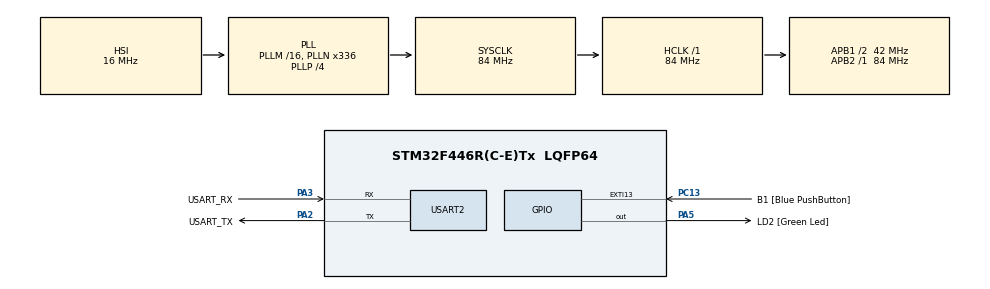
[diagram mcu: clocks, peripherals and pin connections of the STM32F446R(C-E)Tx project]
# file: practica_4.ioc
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Mcu.Family=STM32F4
Mcu.Name=STM32F446R(C-E)Tx
Mcu.Package=LQFP64
NVIC.PriorityGroup=NVIC_PRIORITYGROUP_0
PA13.GPIO_Label=TMS
PA13.Mode=Serial_Wire
PA13.Signal=SYS_JTMS-SWDIO
PA14.GPIO_Label=TCK
PA14.Mode=Serial_Wire
PA14.Signal=SYS_JTCK-SWCLK
PA2.GPIO_Label=USART_TX
PA2.Mode=Asynchronous
PA2.Signal=USART2_TX
PA3.GPIO_Label=USART_RX
PA3.Mode=Asynchronous
PA3.Signal=USART2_RX
PA5.GPIO_Label=LD2 [Green Led]
PA5.Signal=GPIO_Output
PB3.GPIO_Label=SWO
PB3.Signal=SYS_JTDO-SWO
PC13.GPIO_Label=B1 [Blue PushButton]
PC13.GPIO_ModeDefaultEXTI=GPIO_MODE_IT_FALLING
PC13.Signal=GPXTI13
PC14-OSC32_IN.Mode=LSE-External-Oscillator
PC14-OSC32_IN.Signal=RCC_OSC32_IN
PC15-OSC32_OUT.Mode=LSE-External-Oscillator
PC15-OSC32_OUT.Signal=RCC_OSC32_OUT
PH0-OSC_IN.Mode=HSE-External-Oscillator
PH0-OSC_IN.Signal=RCC_OSC_IN
PH1-OSC_OUT.Mode=HSE-External-Oscillator
PH1-OSC_OUT.Signal=RCC_OSC_OUT
ProjectManager.HeapSize=0x200
ProjectManager.StackSize=0x400
ProjectManager.TargetToolchain=STM32CubeIDE
RCC.48MHZClocksFreq_Value=84000000
RCC.AHBFreq_Value=84000000
RCC.APB1CLKDivider=RCC_HCLK_DIV2
RCC.APB1Freq_Value=42000000
RCC.APB1TimFreq_Value=84000000
RCC.APB2Freq_Value=84000000
RCC.APB2TimFreq_Value=84000000
RCC.CortexFreq_Value=84000000
RCC.FLatency-AdvancedSettings=FLASH_LATENCY_2
RCC.HCLKFreq_Value=84000000
RCC.HSE_VALUE=8000000
RCC.HSI_VALUE=16000000
RCC.PLLN=336
RCC.PLLP=RCC_PLLP_DIV4
RCC.SYSCLKFreq_VALUE=84000000
RCC.SYSCLKSource=RCC_SYSCLKSOURCE_PLLCLK
RCC.USBFreq_Value=168000000
RCC.VCOOutputFreq_Value=336000000
USART2.VirtualMode=VM_ASYNC
board=NUCLEO-F446RE

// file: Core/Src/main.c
/* USER CODE BEGIN Header */
/**
 ******************************************************************************
 * @file           : main.c
 * @brief          : Main program body
 ******************************************************************************
 * @attention
 *
 * Copyright (c) 2026 STMicroelectronics.
 * All rights reserved.
 *
 * This software is licensed under terms that can be found in the LICENSE file
 * in the root directory of this software component.
 * If no LICENSE file comes with this software, it is provided AS-IS.
 *
 ******************************************************************************
 */
/* USER CODE END Header */
#include "main.h"

/* USER CODE BEGIN Includes */
#include "API_delay.h"
/* USER CODE END Includes */

/* USER CODE BEGIN PTD */
/**
 * State struct for the fsm
 */
typedef enum {
	BUTTON_UP, BUTTON_FALLING, BUTTON_DOWN, BUTTON_RAISING,
} debounceState_t;

/* USER CODE END PTD */

/* USER CODE BEGIN PD */
#define INIT_DELAY_TIME 0 //! Delay to init the delay
#define TRANSITORY_STATE_TIME 40 //! Transitory wait time
/* USER CODE END PD */

UART_HandleTypeDef huart2;

/* USER CODE BEGIN PV */
static debounceState_t cur_state;
static delay_t dly;
/* USER CODE END PV */

void SystemClock_Config(void);
static void MX_GPIO_Init(void);
static void MX_USART2_UART_Init(void);
/* USER CODE BEGIN PFP */
/**
 * @brief Initialize the debounce FSM.
 *
 * @retval None.
 */
void debounceFSM_init();

/**
 * @brief runs one step of the debounceFSM.
 *
 * @retval None.
 */
void debounceFSM_update();

/**
 * @brief Function to turn the led on when pressed.
 *
 * @retval None.
 */
void buttonPressed();
/**
 * @brief Function to turn the led off when released.
 *
 * @retval None.
 */
void buttonReleased();
/* USER CODE END PFP */

int main(void) {

	/* MCU Configuration--------------------------------------------------------*/

	/* Reset of all peripherals, Initializes the Flash interface and the Systick.
	 */
	HAL_Init();

	/* Configure the system clock */
	SystemClock_Config();

	/* Initialize all configured peripherals */
	MX_GPIO_Init();
	MX_USART2_UART_Init();
	/* USER CODE BEGIN 2 */

	// init both the debounce and the delay
	debounceFSM_init();
	/* USER CODE END 2 */

	/* Infinite loop */
	/* USER CODE BEGIN WHILE */
	while (1) {
		// Update the fsm
		debounceFSM_update();
		/* USER CODE END WHILE */

	}
}

void SystemClock_Config(void) {
	RCC_OscInitTypeDef RCC_OscInitStruct = { 0 };
	RCC_ClkInitTypeDef RCC_ClkInitStruct = { 0 };

	/** Configure the main internal regulator output voltage
	 */
	__HAL_RCC_PWR_CLK_ENABLE();
	__HAL_PWR_VOLTAGESCALING_CONFIG(PWR_REGULATOR_VOLTAGE_SCALE3);

	/** Initializes the RCC Oscillators according to the specified parameters
	 * in the RCC_OscInitTypeDef structure.
	 */
	RCC_OscInitStruct.OscillatorType = RCC_OSCILLATORTYPE_HSI;
	RCC_OscInitStruct.HSIState = RCC_HSI_ON;
	RCC_OscInitStruct.HSICalibrationValue = RCC_HSICALIBRATION_DEFAULT;
	RCC_OscInitStruct.PLL.PLLState = RCC_PLL_ON;
	RCC_OscInitStruct.PLL.PLLSource = RCC_PLLSOURCE_HSI;
	RCC_OscInitStruct.PLL.PLLM = 16;
	RCC_OscInitStruct.PLL.PLLN = 336;
	RCC_OscInitStruct.PLL.PLLP = RCC_PLLP_DIV4;
	RCC_OscInitStruct.PLL.PLLQ = 2;
	RCC_OscInitStruct.PLL.PLLR = 2;
	if (HAL_RCC_OscConfig(&RCC_OscInitStruct) != HAL_OK) {
		Error_Handler();
	}

	/** Initializes the CPU, AHB and APB buses clocks
	 */
	RCC_ClkInitStruct.ClockType = RCC_CLOCKTYPE_HCLK | RCC_CLOCKTYPE_SYSCLK |
	RCC_CLOCKTYPE_PCLK1 | RCC_CLOCKTYPE_PCLK2;
	RCC_ClkInitStruct.SYSCLKSource = RCC_SYSCLKSOURCE_PLLCLK;
	RCC_ClkInitStruct.AHBCLKDivider = RCC_SYSCLK_DIV1;
	RCC_ClkInitStruct.APB1CLKDivider = RCC_HCLK_DIV2;
	RCC_ClkInitStruct.APB2CLKDivider = RCC_HCLK_DIV1;

	if (HAL_RCC_ClockConfig(&RCC_ClkInitStruct, FLASH_LATENCY_2) != HAL_OK) {
		Error_Handler();
	}
}

static void MX_USART2_UART_Init(void) {

	huart2.Instance = USART2;
	huart2.Init.BaudRate = 115200;
	huart2.Init.WordLength = UART_WORDLENGTH_8B;
	huart2.Init.StopBits = UART_STOPBITS_1;
	huart2.Init.Parity = UART_PARITY_NONE;
	huart2.Init.Mode = UART_MODE_TX_RX;
	huart2.Init.HwFlowCtl = UART_HWCONTROL_NONE;
	huart2.Init.OverSampling = UART_OVERSAMPLING_16;
	if (HAL_UART_Init(&huart2) != HAL_OK) {
		Error_Handler();
	}
}

static void MX_GPIO_Init(void) {
	GPIO_InitTypeDef GPIO_InitStruct = { 0 };

	/* GPIO Ports Clock Enable */
	__HAL_RCC_GPIOC_CLK_ENABLE();
	__HAL_RCC_GPIOH_CLK_ENABLE();
	__HAL_RCC_GPIOA_CLK_ENABLE();
	__HAL_RCC_GPIOB_CLK_ENABLE();

	/*Configure GPIO pin Output Level */
	HAL_GPIO_WritePin(LD2_GPIO_Port, LD2_Pin, GPIO_PIN_RESET);

	/*Configure GPIO pin : B1_Pin */
	GPIO_InitStruct.Pin = B1_Pin;
	GPIO_InitStruct.Mode = GPIO_MODE_IT_FALLING;
	GPIO_InitStruct.Pull = GPIO_NOPULL;
	HAL_GPIO_Init(B1_GPIO_Port, &GPIO_InitStruct);

	/*Configure GPIO pin : LD2_Pin */
	GPIO_InitStruct.Pin = LD2_Pin;
	GPIO_InitStruct.Mode = GPIO_MODE_OUTPUT_PP;
	GPIO_InitStruct.Pull = GPIO_NOPULL;
	GPIO_InitStruct.Speed = GPIO_SPEED_FREQ_LOW;
	HAL_GPIO_Init(LD2_GPIO_Port, &GPIO_InitStruct);

}

/* USER CODE BEGIN 4 */
void debounceFSM_init() {
	cur_state = BUTTON_UP;
	delayInit(&dly, INIT_DELAY_TIME);
}

void debounceFSM_update() {
	GPIO_PinState btn_state = HAL_GPIO_ReadPin(GPIOC, GPIO_PIN_13);

	switch (cur_state) {
	case BUTTON_UP:
		if (btn_state == GPIO_PIN_RESET) {
			if (delayIsRunning(&dly))
				delayStop(&dly);

			delayWrite(&dly, TRANSITORY_STATE_TIME);
			delayRead(&dly);
			cur_state = BUTTON_FALLING;
		}
		break;

	case BUTTON_FALLING:
		if (delayRead(&dly)) {
			cur_state = (btn_state == GPIO_PIN_RESET) ? BUTTON_DOWN : BUTTON_UP;
			if (cur_state == BUTTON_DOWN) {
				buttonPressed();
			}
		}
		break;

	case BUTTON_DOWN:
		if (btn_state == GPIO_PIN_SET) {
			cur_state = BUTTON_RAISING;
			if (delayIsRunning(&dly))
				delayStop(&dly);

			delayWrite(&dly, TRANSITORY_STATE_TIME);
			delayRead(&dly);
		}
		break;

	case BUTTON_RAISING:
		if (delayRead(&dly)) {
			cur_state = (btn_state == GPIO_PIN_SET) ? BUTTON_UP : BUTTON_DOWN;
			if (cur_state == BUTTON_UP)
				buttonReleased();
		}
		break;

	default:
		// Here an error handler should be used
		break;
	}
}

void buttonPressed() {
	HAL_GPIO_WritePin(GPIOA, GPIO_PIN_5, GPIO_PIN_SET);
}

void buttonReleased() {
	HAL_GPIO_WritePin(GPIOA, GPIO_PIN_5, GPIO_PIN_RESET);
}
/* USER CODE END 4 */

void Error_Handler(void) {
	__disable_irq();
	while (1) {
	}
}
#ifdef USE_FULL_ASSERT
/**
 * @brief  Reports the name of the source file and the source line number
 *         where the assert_param error has occurred.
 * @param  file: pointer to the source file name
 * @param  line: assert_param error line source number
 * @retval None
 */
void assert_failed(uint8_t *file, uint32_t line) {
  /* USER CODE BEGIN 6 */
  /* User can add his own implementation to report the file name and line
     number, ex: printf("Wrong parameters value: file %s on line %d\r\n", file,
     line) */
  /* USER CODE END 6 */
}
#endif /* USE_FULL_ASSERT */
